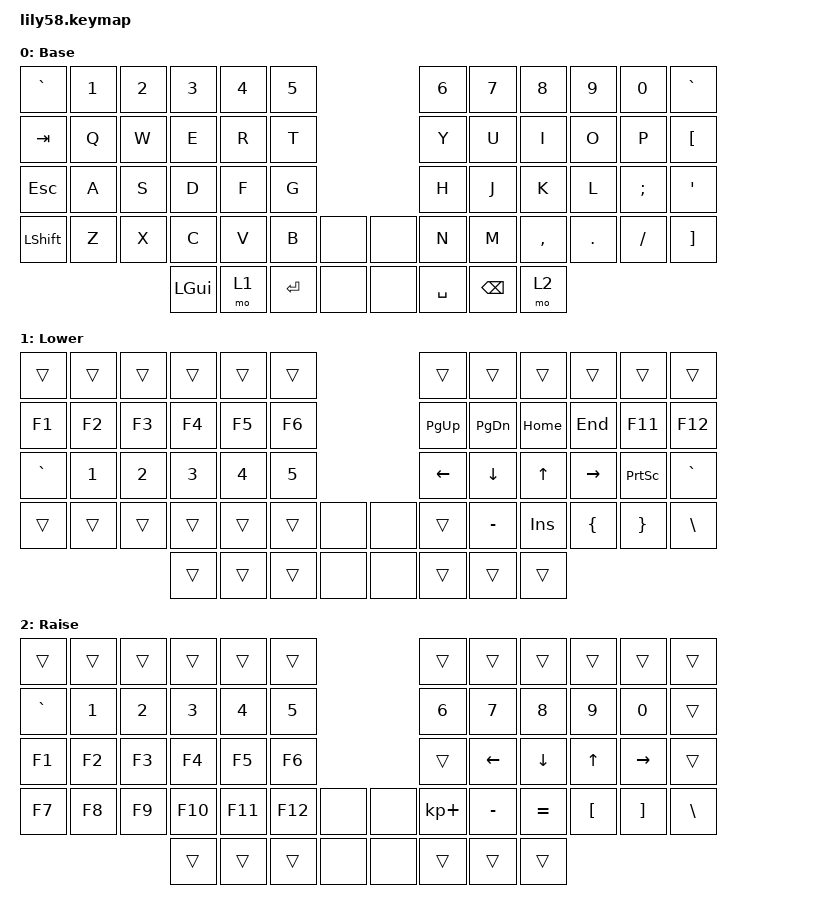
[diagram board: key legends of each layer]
/*
 * Copyright (c) 2020 The ZMK Contributors
 *
 * SPDX-License-Identifier: MIT
 */

#include <behaviors.dtsi>
#include <dt-bindings/zmk/keys.h>
#include <dt-bindings/zmk/bt.h>
#include <dt-bindings/zmk/ext_power.h>
#include <dt-bindings/zmk/outputs.h>

/ {
    keymap {
        compatible = "zmk,keymap";

        default_layer {
// ------------------------------------------------------------------------------------------------------------
// |   `   |  1  |  2  |  3   |  4   |  5   |                   |  6   |  7    |  8    |  9   |   0   |   `   |
// |  TAB  |  Q  |  W  |  E   |  R   |  T   |                   |  Y   |  U    |  I    |  O   |   P   |   {   |
// |  ESC  |  A  |  S  |  D   |  F   |  G   |                   |  H   |  J    |  K    |  L   |   ;   |   '   |
// | SHIFT |  Z  |  X  |  C   |  V   |  B   |  n/a   |  |  n/a  |  N   |  M    |  ,    |  .   |   /   |   }   |
//                     | GUI  | LOWER| ENTER|  n/a   |  |  n/a  | SPACE| BSPC  | RAISE |
// Note: Silakka54 has 54 keys - the 4 positions marked n/a are not present (inner thumb + encoder positions)
            display-name = "Base";
            bindings = <
&kp GRAVE &kp N1 &kp N2 &kp N3   &kp N4 &kp N5                     &kp N6    &kp N7   &kp N8    &kp N9  &kp N0   &kp GRAVE
&kp TAB   &kp Q  &kp W  &kp E    &kp R  &kp T                      &kp Y     &kp U    &kp I     &kp O   &kp P    &kp LBKT
&kp ESC   &kp A  &kp S  &kp D    &kp F  &kp G                      &kp H     &kp J    &kp K     &kp L   &kp SEMI &kp SQT
&kp LSHFT &kp Z  &kp X  &kp C    &kp V  &kp B  &none     &none     &kp N     &kp M    &kp COMMA &kp DOT &kp FSLH &kp RBKT
                        &kp LGUI &mo 1  &kp RET &none    &none     &kp SPACE &kp BSPC &mo 2
            >;
        };

        lower_layer {
// ------------------------------------------------------------------------------------------------------------
// |       |     |     |      |      |      |                   |      |       |       |      |       |       |
// |  F1   |  F2 |  F3 |  F4  |  F5  |  F6  |                   | PgUp | PgDn  | Home  | End  |  F11  |  F12  |
// |   `   |  1  |  2  |  3   |  4   |  5   |                   |  <-  |   v   |   ^   |  ->  | PrSc  |   `   |
// |       |     |     |      |      |      |  n/a   |  |  n/a  |      |  -    |  Ins  |  {   |   }   |   \   |
//                     |      |      |      |  n/a   |  |  n/a  |      |       |       |
            display-name = "Lower";
            bindings = <
&trans    &trans &trans &trans &trans &trans                    &trans    &trans    &trans    &trans    &trans    &trans
&kp F1    &kp F2 &kp F3 &kp F4 &kp F5 &kp F6                    &kp PG_UP &kp PG_DN &kp HOME  &kp END   &kp F11   &kp F12
&kp GRAVE &kp N1 &kp N2 &kp N3 &kp N4 &kp N5                    &kp LEFT  &kp DOWN  &kp UP    &kp RIGHT &kp PSCRN &kp GRAVE
&trans    &trans &trans &trans &trans &trans &none     &none    &trans    &kp MINUS &kp INS   &kp LBRC  &kp RBRC  &kp BSLH
                         &trans &trans &trans &none     &none    &trans    &trans    &trans
            >;
        };

        raise_layer {
// ------------------------------------------------------------------------------------------------------------
// |       |     |     |      |      |      |                   |      |       |       |      |       |       |
// |   `   |  1  |  2  |  3   |  4   |  5   |                   |  6   |   7   |   8   |  9   |   0   |       |
// |   F1  |  F2 |  F3 |  F4  |  F5  |  F6  |                   |      |   <-  |   v   |  ^   |  ->   |       |
// |   F7  |  F8 |  F9 |  F10 |  F11 |  F12 |  n/a   |  |  n/a  |  +   |   -   |   =   |  [   |   ]   |   \   |
//                     |      |      |      |  n/a   |  |  n/a  |      |       |       |
            display-name = "Raise";
            bindings = <
&trans    &trans &trans &trans  &trans  &trans                       &trans      &trans    &trans    &trans   &trans    &trans
&kp GRAVE &kp N1 &kp N2 &kp N3  &kp N4  &kp N5                       &kp N6      &kp N7    &kp N8    &kp N9   &kp N0    &trans
&kp F1    &kp F2 &kp F3 &kp F4  &kp F5  &kp F6                       &trans      &kp LEFT  &kp DOWN  &kp UP   &kp RIGHT &trans
&kp F7    &kp F8 &kp F9 &kp F10 &kp F11 &kp F12   &none     &none    &kp KP_PLUS &kp MINUS &kp EQUAL &kp LBKT &kp RBKT  &kp BSLH
                        &trans  &trans  &trans    &none     &none    &trans      &trans    &trans
            >;
        };

        extra_1 {
            status = "reserved";
        };

        extra_2 {
            status = "reserved";
        };

        extra_3 {
            status = "reserved";
        };
    };
};
